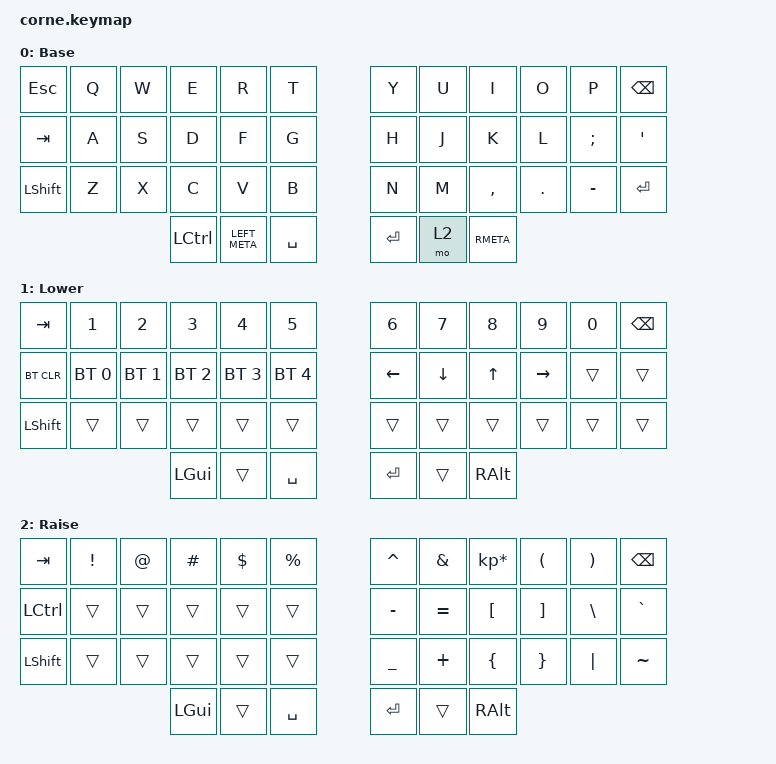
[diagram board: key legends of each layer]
/*
 * Copyright (c) 2020 The ZMK Contributors
 *
 * SPDX-License-Identifier: MIT
 */

#include <behaviors.dtsi>
#include <dt-bindings/zmk/bt.h>
#include <dt-bindings/zmk/keys.h>

/ {
    combos {
        compatible = "zmk,combos";

        combo_studio_unlock {
            timeout-ms = <50>;
            key-positions = <0 1>;  // Top left two keys (Q + W on QWERTY)
            bindings = <&studio_unlock>;
        };
    };

    keymap {
        compatible = "zmk,keymap";

        default_layer {
            label = "Base";
            bindings = <
&kp ESC    &kp Q  &kp W  &kp E      &kp R          &kp T        &kp Y    &kp U  &kp I      &kp O    &kp P      &kp BSPC
&kp TAB    &kp A  &kp S  &kp D      &kp F          &kp G        &kp H    &kp J  &kp K      &kp L    &kp SEMI   &kp SINGLE_QUOTE
&kp LSHFT  &kp Z  &kp X  &kp C      &kp V          &kp B        &kp N    &kp M  &kp COMMA  &kp DOT  &kp MINUS  &kp ENTER
                         &kp LCTRL  &kp LEFT_META  &kp SPACE    &kp RET  &mo 2  &kp RMETA
            >;
        };

        lower_layer {
            label = "Lower";
            bindings = <
&kp TAB     &kp N1        &kp N2        &kp N3        &kp N4        &kp N5          &kp N6    &kp N7    &kp N8    &kp N9     &kp N0  &kp BSPC
&bt BT_CLR  &bt BT_SEL 0  &bt BT_SEL 1  &bt BT_SEL 2  &bt BT_SEL 3  &bt BT_SEL 4    &kp LEFT  &kp DOWN  &kp UP    &kp RIGHT  &trans  &trans
&kp LSHFT   &trans        &trans        &trans        &trans        &trans          &trans    &trans    &trans    &trans     &trans  &trans
                                        &kp LGUI      &trans        &kp SPACE       &kp RET   &trans    &kp RALT
            >;
        };

        raise_layer {
            label = "Raise";
            bindings = <
&kp TAB    &kp EXCL  &kp AT  &kp HASH  &kp DLLR  &kp PRCNT    &kp CARET  &kp AMPS   &kp KP_MULTIPLY  &kp LPAR  &kp RPAR  &kp BSPC
&kp LCTRL  &trans    &trans  &trans    &trans    &trans       &kp MINUS  &kp EQUAL  &kp LBKT         &kp RBKT  &kp BSLH  &kp GRAVE
&kp LSHFT  &trans    &trans  &trans    &trans    &trans       &kp UNDER  &kp PLUS   &kp LBRC         &kp RBRC  &kp PIPE  &kp TILDE
                             &kp LGUI  &trans    &kp SPACE    &kp RET    &trans     &kp RALT
            >;
        };
    };
};
